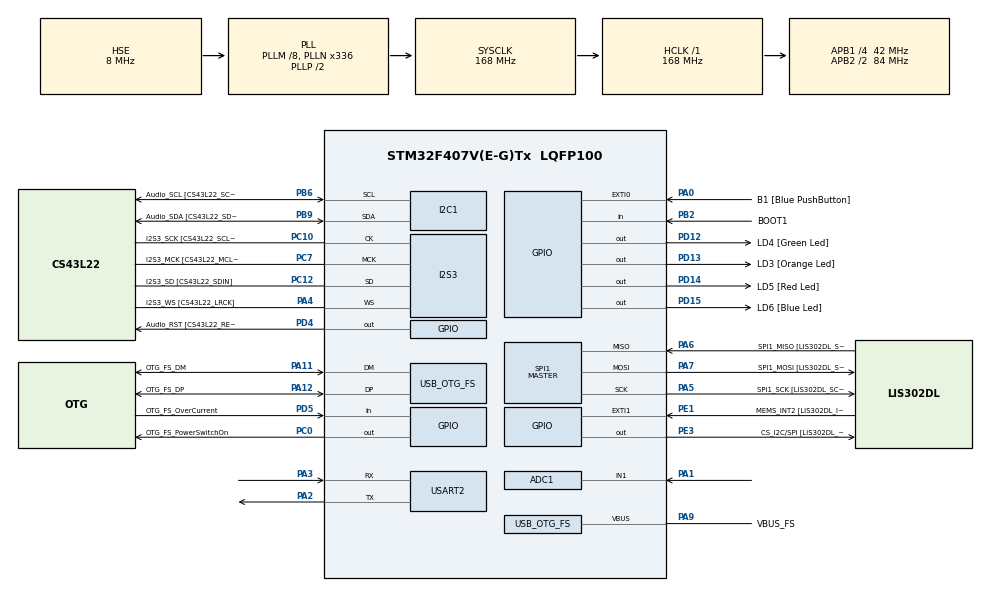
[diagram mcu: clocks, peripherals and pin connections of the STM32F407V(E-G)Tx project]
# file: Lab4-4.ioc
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ADC1.Channel-0\#ChannelRegularConversion=ADC_CHANNEL_1
ADC1.NbrOfConversionFlag=1
ADC1.Rank-0\#ChannelRegularConversion=1
ADC1.SamplingTime-0\#ChannelRegularConversion=ADC_SAMPLETIME_3CYCLES
ADC1.master=1
I2S3.AudioFreq-Half_Duplex_Master=I2S_AUDIOFREQ_96K
I2S3.ErrorAudioFreq=-2.34 %
I2S3.ErrorAudioFreq-Half_Duplex_Master=0.8 %
I2S3.FullDuplexMode=I2S_FULLDUPLEXMODE_DISABLE
I2S3.Instance=SPI$Index
I2S3.RealAudioFreq=93.75 KHz
I2S3.RealAudioFreq-Half_Duplex_Master=96.774 KHz
I2S3.VirtualMode=I2S_MODE_MASTER
Mcu.Family=STM32F4
Mcu.Name=STM32F407V(E-G)Tx
Mcu.Package=LQFP100
NVIC.OTG_FS_IRQn=true\:0\:0\:false\:false\:true\:true\:true
NVIC.PriorityGroup=NVIC_PRIORITYGROUP_0
NVIC.TIM3_IRQn=true\:0\:0\:false\:false\:true\:true\:true
PA0-WKUP.GPIO_Label=B1 [Blue PushButton]
PA0-WKUP.GPIO_ModeDefaultEXTI=GPIO_MODE_EVT_RISING
PA0-WKUP.GPIO_PuPd=GPIO_NOPULL
PA0-WKUP.Signal=GPXTI0
PA1.Signal=ADCx_IN1
PA10.GPIO_Label=OTG_FS_ID
PA10.GPIO_Mode=GPIO_MODE_AF_PP
PA10.GPIO_PuPd=GPIO_NOPULL
PA10.GPIO_Speed=GPIO_SPEED_FREQ_LOW
PA10.Signal=USB_OTG_FS_ID
PA11.GPIO_Label=OTG_FS_DM
PA11.GPIO_Mode=GPIO_MODE_AF_PP
PA11.GPIO_PuPd=GPIO_NOPULL
PA11.GPIO_Speed=GPIO_SPEED_FREQ_LOW
PA11.Mode=Host_Only
PA11.Signal=USB_OTG_FS_DM
PA12.GPIO_Label=OTG_FS_DP
PA12.GPIO_Mode=GPIO_MODE_AF_PP
PA12.GPIO_PuPd=GPIO_NOPULL
PA12.GPIO_Speed=GPIO_SPEED_FREQ_LOW
PA12.Mode=Host_Only
PA12.Signal=USB_OTG_FS_DP
PA13.GPIO_Label=SWDIO
PA13.Mode=Serial_Wire
PA13.Signal=SYS_JTMS-SWDIO
PA14.GPIO_Label=SWCLK
PA14.Mode=Serial_Wire
PA14.Signal=SYS_JTCK-SWCLK
PA2.Mode=Asynchronous
PA2.Signal=USART2_TX
PA3.Mode=Asynchronous
PA3.Signal=USART2_RX
PA4.GPIO_Label=I2S3_WS [CS43L22_LRCK]
PA4.GPIO_Mode=GPIO_MODE_AF_PP
PA4.GPIO_PuPd=GPIO_NOPULL
PA4.GPIO_Speed=GPIO_SPEED_FREQ_LOW
PA4.Mode=Half_Duplex_Master
PA4.Signal=I2S3_WS
PA5.GPIO_Label=SPI1_SCK [LIS302DL_SCL/SPC]
PA5.GPIO_Mode=GPIO_MODE_AF_PP
PA5.GPIO_PuPd=GPIO_NOPULL
PA5.GPIO_Speed=GPIO_SPEED_FREQ_LOW
PA5.Mode=Full_Duplex_Master
PA5.Signal=SPI1_SCK
PA6.GPIO_Label=SPI1_MISO [LIS302DL_SDO]
PA6.GPIO_Mode=GPIO_MODE_AF_PP
PA6.GPIO_PuPd=GPIO_NOPULL
PA6.GPIO_Speed=GPIO_SPEED_FREQ_LOW
PA6.Mode=Full_Duplex_Master
PA6.Signal=SPI1_MISO
PA7.GPIO_Label=SPI1_MOSI [LIS302DL_SDA/SDI/SDO]
PA7.GPIO_Mode=GPIO_MODE_AF_PP
PA7.GPIO_PuPd=GPIO_NOPULL
PA7.GPIO_Speed=GPIO_SPEED_FREQ_LOW
PA7.Mode=Full_Duplex_Master
PA7.Signal=SPI1_MOSI
PA9.GPIO_Label=VBUS_FS
PA9.GPIO_Mode=GPIO_MODE_INPUT
PA9.GPIO_PuPd=GPIO_NOPULL
PA9.Mode=Activate_VBUS
PA9.Signal=USB_OTG_FS_VBUS
PB10.GPIO_Label=CLK_IN [MP45DT02_CLK]
PB10.GPIO_Mode=GPIO_MODE_AF_PP
PB10.GPIO_PuPd=GPIO_NOPULL
PB10.GPIO_Speed=GPIO_SPEED_FREQ_LOW
PB10.Signal=I2S2_CK
PB2.GPIO_Label=BOOT1
PB2.GPIO_Mode=GPIO_MODE_INPUT
PB2.GPIO_PuPd=GPIO_NOPULL
PB2.Signal=GPIO_Input
PB3.GPIO_Label=SWO
PB3.Signal=SYS_JTDO-SWO
PB6.GPIO_Label=Audio_SCL [CS43L22_SCL]
PB6.GPIO_Mode=GPIO_MODE_AF_OD
PB6.GPIO_PuPd=GPIO_NOPULL
PB6.GPIO_Speed=GPIO_SPEED_FREQ_LOW
PB6.Mode=I2C
PB6.Signal=I2C1_SCL
PB9.GPIO_Label=Audio_SDA [CS43L22_SDA]
PB9.GPIO_Mode=GPIO_MODE_AF_OD
PB9.GPIO_PuPd=GPIO_NOPULL
PB9.GPIO_Speed=GPIO_SPEED_FREQ_LOW
PB9.Mode=I2C
PB9.Signal=I2C1_SDA
PC0.GPIO_Label=OTG_FS_PowerSwitchOn
PC0.GPIO_PuPd=GPIO_NOPULL
PC0.GPIO_Speed=GPIO_SPEED_FREQ_LOW
PC0.PinState=GPIO_PIN_SET
PC0.Signal=GPIO_Output
PC10.GPIO_Label=I2S3_SCK [CS43L22_SCLK]
PC10.GPIO_Mode=GPIO_MODE_AF_PP
PC10.GPIO_PuPd=GPIO_NOPULL
PC10.GPIO_Speed=GPIO_SPEED_FREQ_LOW
PC10.Mode=Half_Duplex_Master
PC10.Signal=I2S3_CK
PC12.GPIO_Label=I2S3_SD [CS43L22_SDIN]
PC12.GPIO_Mode=GPIO_MODE_AF_PP
PC12.GPIO_PuPd=GPIO_NOPULL
PC12.GPIO_Speed=GPIO_SPEED_FREQ_LOW
PC12.Mode=Half_Duplex_Master
PC12.Signal=I2S3_SD
PC14-OSC32_IN.GPIO_Label=PC14-OSC32_IN
PC14-OSC32_IN.Mode=LSE-External-Oscillator
PC14-OSC32_IN.Signal=RCC_OSC32_IN
PC15-OSC32_OUT.GPIO_Label=PC15-OSC32_OUT
PC15-OSC32_OUT.Mode=LSE-External-Oscillator
PC15-OSC32_OUT.Signal=RCC_OSC32_OUT
PC3.GPIO_Label=PDM_OUT [MP45DT02_DOUT]
PC3.GPIO_Mode=GPIO_MODE_AF_PP
PC3.GPIO_PuPd=GPIO_NOPULL
PC3.GPIO_Speed=GPIO_SPEED_FREQ_LOW
PC3.Signal=I2S2_SD
PC7.GPIO_Label=I2S3_MCK [CS43L22_MCLK]
PC7.GPIO_Mode=GPIO_MODE_AF_PP
PC7.GPIO_PuPd=GPIO_NOPULL
PC7.GPIO_Speed=GPIO_SPEED_FREQ_LOW
PC7.Mode=Master_Clock_Activated
PC7.Signal=I2S3_MCK
PD12.GPIO_Label=LD4 [Green Led]
PD12.GPIO_PuPd=GPIO_NOPULL
PD12.GPIO_Speed=GPIO_SPEED_FREQ_LOW
PD12.Signal=GPIO_Output
PD13.GPIO_Label=LD3 [Orange Led]
PD13.GPIO_PuPd=GPIO_NOPULL
PD13.GPIO_Speed=GPIO_SPEED_FREQ_LOW
PD13.Signal=GPIO_Output
PD14.GPIO_Label=LD5 [Red Led]
PD14.GPIO_PuPd=GPIO_NOPULL
PD14.GPIO_Speed=GPIO_SPEED_FREQ_LOW
PD14.Signal=GPIO_Output
PD15.GPIO_Label=LD6 [Blue Led]
PD15.GPIO_PuPd=GPIO_NOPULL
PD15.GPIO_Speed=GPIO_SPEED_FREQ_LOW
PD15.Signal=GPIO_Output
PD4.GPIO_Label=Audio_RST [CS43L22_RESET]
PD4.GPIO_PuPd=GPIO_NOPULL
PD4.GPIO_Speed=GPIO_SPEED_FREQ_LOW
PD4.Signal=GPIO_Output
PD5.GPIO_Label=OTG_FS_OverCurrent
PD5.GPIO_Mode=GPIO_MODE_INPUT
PD5.GPIO_PuPd=GPIO_NOPULL
PD5.Signal=GPIO_Input
PE1.GPIO_Label=MEMS_INT2 [LIS302DL_INT2]
PE1.GPIO_ModeDefaultEXTI=GPIO_MODE_EVT_RISING
PE1.GPIO_PuPd=GPIO_NOPULL
PE1.Signal=GPXTI1
PE3.GPIO_Label=CS_I2C/SPI [LIS302DL_CS_I2C/SPI]
PE3.GPIO_PuPd=GPIO_NOPULL
PE3.GPIO_Speed=GPIO_SPEED_FREQ_LOW
PE3.Signal=GPIO_Output
PH0-OSC_IN.GPIO_Label=PH0-OSC_IN
PH0-OSC_IN.Mode=HSE-External-Oscillator
PH0-OSC_IN.Signal=RCC_OSC_IN
PH1-OSC_OUT.GPIO_Label=PH1-OSC_OUT
PH1-OSC_OUT.Mode=HSE-External-Oscillator
PH1-OSC_OUT.Signal=RCC_OSC_OUT
ProjectManager.HeapSize=0x200
ProjectManager.StackSize=0x400
ProjectManager.TargetToolchain=STM32CubeIDE
RCC.48MHZClocksFreq_Value=48000000
RCC.AHBFreq_Value=168000000
RCC.APB1CLKDivider=RCC_HCLK_DIV4
RCC.APB1Freq_Value=42000000
RCC.APB1TimFreq_Value=84000000
RCC.APB2CLKDivider=RCC_HCLK_DIV2
RCC.APB2Freq_Value=84000000
RCC.APB2TimFreq_Value=168000000
RCC.CortexFreq_Value=168000000
RCC.HCLKFreq_Value=168000000
RCC.HSE_VALUE=8000000
RCC.HSI_VALUE=16000000
RCC.PLLM=8
RCC.PLLN=336
RCC.PLLQ=7
RCC.SYSCLKFreq_VALUE=168000000
RCC.SYSCLKSource=RCC_SYSCLKSOURCE_PLLCLK
RCC.VCOOutputFreq_Value=336000000
SH.ADCx_IN1.0=ADC1_IN1,IN1
SPI1.BaudRatePrescaler-Full_Duplex_Master=SPI_BAUDRATEPRESCALER_2
SPI1.CalculateBaudRate-Full_Duplex_Master=42.0 MBits/s
SPI1.Direction=SPI_DIRECTION_2LINES
SPI1.Mode=SPI_MODE_MASTER
SPI1.Mode-Full_Duplex_Master=SPI_MODE_MASTER
SPI1.VirtualType=VM_MASTER
TIM3.AutoReloadPreload=TIM_AUTORELOAD_PRELOAD_ENABLE
TIM3.Period=50
TIM3.Prescaler=83
USART2.VirtualMode=VM_ASYNC
USB_HOST.BSP.number=1
USB_HOST.USBH_HandleTypeDef-CDC_FS=hUsbHostFS
USB_HOST.VirtualModeFS=Cdc
USB_HOST0.BSP.STBoard=false
USB_HOST0.BSP.api=Unknown
USB_HOST0.BSP.i2caddr=0
USB_HOST0.BSP.i2creg=0
USB_HOST0.BSP.instance=PC0
USB_HOST0.BSP.ip=GPIO
USB_HOST0.BSP.mode=Output
USB_HOST0.BSP.name=Drive_VBUS_FS
USB_HOST0.BSP.solution=PC0
USB_OTG_FS.VirtualMode=Host_Only
USB_OTG_FS.phy_itface=HCD_PHY_EMBEDDED
VP_TIM3_VS_ClockSourceINT.Mode=Internal
VP_USB_HOST_VS_USB_HOST_CDC_FS.Mode=CDC_FS
board=STM32F4DISCOVERY

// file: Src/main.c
/* USER CODE BEGIN Header */
/**
  ******************************************************************************
  * @file           : main.c
  * @brief          : Main program body
  ******************************************************************************
  * @attention
  *
  * <h2><center>&copy; Copyright (c) 2019 STMicroelectronics.
  * All rights reserved.</center></h2>
  *
  * This software component is licensed by ST under Ultimate Liberty license
  * SLA0044, the "License"; You may not use this file except in compliance with
  * the License. You may obtain a copy of the License at:
  *                             www.st.com/SLA0044
  *
  ******************************************************************************
  */
/* USER CODE END Header */

#include "main.h"
#include "usb_host.h"

ADC_HandleTypeDef hadc1;

I2C_HandleTypeDef hi2c1;

I2S_HandleTypeDef hi2s3;

SPI_HandleTypeDef hspi1;

TIM_HandleTypeDef htim3;

UART_HandleTypeDef huart2;

void SystemClock_Config(void);
static void MX_GPIO_Init(void);
static void MX_I2C1_Init(void);
static void MX_I2S3_Init(void);
static void MX_SPI1_Init(void);
static void MX_TIM3_Init(void);
static void MX_USART2_UART_Init(void);
static void MX_ADC1_Init(void);
void MX_USB_HOST_Process(void);

/* USER CODE BEGIN 0 */
int cnt = 0;
int lightPow = 0;
int state = 0;
int check = 0;
int serial =0;
float max = 5000;
float min = 0;

void HAL_TIM_PeriodElapsedCallback(TIM_HandleTypeDef *htim) {

	float pwm = (1 - ((max-serial)/(max-min))) * 100;
	lightPow = pwm;
		if(cnt<=lightPow){
			HAL_GPIO_WritePin(GPIOD, GPIO_PIN_15, 1);
		} else {
			HAL_GPIO_WritePin(GPIOD, GPIO_PIN_15, 0);
		}
	if(cnt == 100){
		cnt = 0;
	}

	cnt++;

}
/* USER CODE END 0 */

int main(void)
{

  /* MCU Configuration--------------------------------------------------------*/

  /* Reset of all peripherals, Initializes the Flash interface and the Systick. */
  HAL_Init();

  /* Configure the system clock */
  SystemClock_Config();

  /* Initialize all configured peripherals */
  MX_GPIO_Init();
  MX_I2C1_Init();
  MX_I2S3_Init();
  MX_SPI1_Init();
  MX_USB_HOST_Init();
  MX_TIM3_Init();
  MX_USART2_UART_Init();
  MX_ADC1_Init();
  /* USER CODE BEGIN 2 */
  HAL_TIM_Base_Start_IT(&htim3);
  /* USER CODE END 2 */

  /* Infinite loop */
  while (1)
  {
	  HAL_ADC_Start(&hadc1);
	      if (HAL_ADC_PollForConversion(&hadc1, 1000) == HAL_OK) {
	      	serial = HAL_ADC_GetValue(&hadc1);
	      	char pData[20];
	      	sprintf(pData, "%d\n\r",serial);
	      	HAL_UART_Transmit(&huart2, pData, strlen(pData), 1000);
	      }

  }
}

void SystemClock_Config(void)
{
  RCC_OscInitTypeDef RCC_OscInitStruct = {0};
  RCC_ClkInitTypeDef RCC_ClkInitStruct = {0};
  RCC_PeriphCLKInitTypeDef PeriphClkInitStruct = {0};

  /** Configure the main internal regulator output voltage
  */
  __HAL_RCC_PWR_CLK_ENABLE();
  __HAL_PWR_VOLTAGESCALING_CONFIG(PWR_REGULATOR_VOLTAGE_SCALE1);
  /** Initializes the CPU, AHB and APB busses clocks
  */
  RCC_OscInitStruct.OscillatorType = RCC_OSCILLATORTYPE_HSE;
  RCC_OscInitStruct.HSEState = RCC_HSE_ON;
  RCC_OscInitStruct.PLL.PLLState = RCC_PLL_ON;
  RCC_OscInitStruct.PLL.PLLSource = RCC_PLLSOURCE_HSE;
  RCC_OscInitStruct.PLL.PLLM = 8;
  RCC_OscInitStruct.PLL.PLLN = 336;
  RCC_OscInitStruct.PLL.PLLP = RCC_PLLP_DIV2;
  RCC_OscInitStruct.PLL.PLLQ = 7;
  if (HAL_RCC_OscConfig(&RCC_OscInitStruct) != HAL_OK)
  {
    Error_Handler();
  }
  /** Initializes the CPU, AHB and APB busses clocks
  */
  RCC_ClkInitStruct.ClockType = RCC_CLOCKTYPE_HCLK|RCC_CLOCKTYPE_SYSCLK
                              |RCC_CLOCKTYPE_PCLK1|RCC_CLOCKTYPE_PCLK2;
  RCC_ClkInitStruct.SYSCLKSource = RCC_SYSCLKSOURCE_PLLCLK;
  RCC_ClkInitStruct.AHBCLKDivider = RCC_SYSCLK_DIV1;
  RCC_ClkInitStruct.APB1CLKDivider = RCC_HCLK_DIV4;
  RCC_ClkInitStruct.APB2CLKDivider = RCC_HCLK_DIV2;

  if (HAL_RCC_ClockConfig(&RCC_ClkInitStruct, FLASH_LATENCY_5) != HAL_OK)
  {
    Error_Handler();
  }
  PeriphClkInitStruct.PeriphClockSelection = RCC_PERIPHCLK_I2S;
  PeriphClkInitStruct.PLLI2S.PLLI2SN = 192;
  PeriphClkInitStruct.PLLI2S.PLLI2SR = 2;
  if (HAL_RCCEx_PeriphCLKConfig(&PeriphClkInitStruct) != HAL_OK)
  {
    Error_Handler();
  }
}

static void MX_ADC1_Init(void)
{

  ADC_ChannelConfTypeDef sConfig = {0};

  /** Configure the global features of the ADC (Clock, Resolution, Data Alignment and number of conversion)
  */
  hadc1.Instance = ADC1;
  hadc1.Init.ClockPrescaler = ADC_CLOCK_SYNC_PCLK_DIV4;
  hadc1.Init.Resolution = ADC_RESOLUTION_12B;
  hadc1.Init.ScanConvMode = DISABLE;
  hadc1.Init.ContinuousConvMode = DISABLE;
  hadc1.Init.DiscontinuousConvMode = DISABLE;
  hadc1.Init.ExternalTrigConvEdge = ADC_EXTERNALTRIGCONVEDGE_NONE;
  hadc1.Init.ExternalTrigConv = ADC_SOFTWARE_START;
  hadc1.Init.DataAlign = ADC_DATAALIGN_RIGHT;
  hadc1.Init.NbrOfConversion = 1;
  hadc1.Init.DMAContinuousRequests = DISABLE;
  hadc1.Init.EOCSelection = ADC_EOC_SINGLE_CONV;
  if (HAL_ADC_Init(&hadc1) != HAL_OK)
  {
    Error_Handler();
  }
  /** Configure for the selected ADC regular channel its corresponding rank in the sequencer and its sample time.
  */
  sConfig.Channel = ADC_CHANNEL_1;
  sConfig.Rank = 1;
  sConfig.SamplingTime = ADC_SAMPLETIME_3CYCLES;
  if (HAL_ADC_ConfigChannel(&hadc1, &sConfig) != HAL_OK)
  {
    Error_Handler();
  }

}

static void MX_I2C1_Init(void)
{

  hi2c1.Instance = I2C1;
  hi2c1.Init.ClockSpeed = 100000;
  hi2c1.Init.DutyCycle = I2C_DUTYCYCLE_2;
  hi2c1.Init.OwnAddress1 = 0;
  hi2c1.Init.AddressingMode = I2C_ADDRESSINGMODE_7BIT;
  hi2c1.Init.DualAddressMode = I2C_DUALADDRESS_DISABLE;
  hi2c1.Init.OwnAddress2 = 0;
  hi2c1.Init.GeneralCallMode = I2C_GENERALCALL_DISABLE;
  hi2c1.Init.NoStretchMode = I2C_NOSTRETCH_DISABLE;
  if (HAL_I2C_Init(&hi2c1) != HAL_OK)
  {
    Error_Handler();
  }

}

static void MX_I2S3_Init(void)
{

  hi2s3.Instance = SPI3;
  hi2s3.Init.Mode = I2S_MODE_MASTER_TX;
  hi2s3.Init.Standard = I2S_STANDARD_PHILIPS;
  hi2s3.Init.DataFormat = I2S_DATAFORMAT_16B;
  hi2s3.Init.MCLKOutput = I2S_MCLKOUTPUT_ENABLE;
  hi2s3.Init.AudioFreq = I2S_AUDIOFREQ_96K;
  hi2s3.Init.CPOL = I2S_CPOL_LOW;
  hi2s3.Init.ClockSource = I2S_CLOCK_PLL;
  hi2s3.Init.FullDuplexMode = I2S_FULLDUPLEXMODE_DISABLE;
  if (HAL_I2S_Init(&hi2s3) != HAL_OK)
  {
    Error_Handler();
  }

}

static void MX_SPI1_Init(void)
{

  /* SPI1 parameter configuration*/
  hspi1.Instance = SPI1;
  hspi1.Init.Mode = SPI_MODE_MASTER;
  hspi1.Init.Direction = SPI_DIRECTION_2LINES;
  hspi1.Init.DataSize = SPI_DATASIZE_8BIT;
  hspi1.Init.CLKPolarity = SPI_POLARITY_LOW;
  hspi1.Init.CLKPhase = SPI_PHASE_1EDGE;
  hspi1.Init.NSS = SPI_NSS_SOFT;
  hspi1.Init.BaudRatePrescaler = SPI_BAUDRATEPRESCALER_2;
  hspi1.Init.FirstBit = SPI_FIRSTBIT_MSB;
  hspi1.Init.TIMode = SPI_TIMODE_DISABLE;
  hspi1.Init.CRCCalculation = SPI_CRCCALCULATION_DISABLE;
  hspi1.Init.CRCPolynomial = 10;
  if (HAL_SPI_Init(&hspi1) != HAL_OK)
  {
    Error_Handler();
  }

}

static void MX_TIM3_Init(void)
{

  TIM_ClockConfigTypeDef sClockSourceConfig = {0};
  TIM_MasterConfigTypeDef sMasterConfig = {0};

  htim3.Instance = TIM3;
  htim3.Init.Prescaler = 83;
  htim3.Init.CounterMode = TIM_COUNTERMODE_UP;
  htim3.Init.Period = 50;
  htim3.Init.ClockDivision = TIM_CLOCKDIVISION_DIV1;
  htim3.Init.AutoReloadPreload = TIM_AUTORELOAD_PRELOAD_ENABLE;
  if (HAL_TIM_Base_Init(&htim3) != HAL_OK)
  {
    Error_Handler();
  }
  sClockSourceConfig.ClockSource = TIM_CLOCKSOURCE_INTERNAL;
  if (HAL_TIM_ConfigClockSource(&htim3, &sClockSourceConfig) != HAL_OK)
  {
    Error_Handler();
  }
  sMasterConfig.MasterOutputTrigger = TIM_TRGO_RESET;
  sMasterConfig.MasterSlaveMode = TIM_MASTERSLAVEMODE_DISABLE;
  if (HAL_TIMEx_MasterConfigSynchronization(&htim3, &sMasterConfig) != HAL_OK)
  {
    Error_Handler();
  }

}

static void MX_USART2_UART_Init(void)
{

  huart2.Instance = USART2;
  huart2.Init.BaudRate = 115200;
  huart2.Init.WordLength = UART_WORDLENGTH_8B;
  huart2.Init.StopBits = UART_STOPBITS_1;
  huart2.Init.Parity = UART_PARITY_NONE;
  huart2.Init.Mode = UART_MODE_TX_RX;
  huart2.Init.HwFlowCtl = UART_HWCONTROL_NONE;
  huart2.Init.OverSampling = UART_OVERSAMPLING_16;
  if (HAL_UART_Init(&huart2) != HAL_OK)
  {
    Error_Handler();
  }

}

static void MX_GPIO_Init(void)
{
  GPIO_InitTypeDef GPIO_InitStruct = {0};

  /* GPIO Ports Clock Enable */
  __HAL_RCC_GPIOE_CLK_ENABLE();
  __HAL_RCC_GPIOC_CLK_ENABLE();
  __HAL_RCC_GPIOH_CLK_ENABLE();
  __HAL_RCC_GPIOA_CLK_ENABLE();
  __HAL_RCC_GPIOB_CLK_ENABLE();
  __HAL_RCC_GPIOD_CLK_ENABLE();

  /*Configure GPIO pin Output Level */
  HAL_GPIO_WritePin(CS_I2C_SPI_GPIO_Port, CS_I2C_SPI_Pin, GPIO_PIN_RESET);

  /*Configure GPIO pin Output Level */
  HAL_GPIO_WritePin(OTG_FS_PowerSwitchOn_GPIO_Port, OTG_FS_PowerSwitchOn_Pin, GPIO_PIN_SET);

  /*Configure GPIO pin Output Level */
  HAL_GPIO_WritePin(GPIOD, LD4_Pin|LD3_Pin|LD5_Pin|LD6_Pin
                          |Audio_RST_Pin, GPIO_PIN_RESET);

  /*Configure GPIO pin : CS_I2C_SPI_Pin */
  GPIO_InitStruct.Pin = CS_I2C_SPI_Pin;
  GPIO_InitStruct.Mode = GPIO_MODE_OUTPUT_PP;
  GPIO_InitStruct.Pull = GPIO_NOPULL;
  GPIO_InitStruct.Speed = GPIO_SPEED_FREQ_LOW;
  HAL_GPIO_Init(CS_I2C_SPI_GPIO_Port, &GPIO_InitStruct);

  /*Configure GPIO pin : OTG_FS_PowerSwitchOn_Pin */
  GPIO_InitStruct.Pin = OTG_FS_PowerSwitchOn_Pin;
  GPIO_InitStruct.Mode = GPIO_MODE_OUTPUT_PP;
  GPIO_InitStruct.Pull = GPIO_NOPULL;
  GPIO_InitStruct.Speed = GPIO_SPEED_FREQ_LOW;
  HAL_GPIO_Init(OTG_FS_PowerSwitchOn_GPIO_Port, &GPIO_InitStruct);

  /*Configure GPIO pin : PDM_OUT_Pin */
  GPIO_InitStruct.Pin = PDM_OUT_Pin;
  GPIO_InitStruct.Mode = GPIO_MODE_AF_PP;
  GPIO_InitStruct.Pull = GPIO_NOPULL;
  GPIO_InitStruct.Speed = GPIO_SPEED_FREQ_LOW;
  GPIO_InitStruct.Alternate = GPIO_AF5_SPI2;
  HAL_GPIO_Init(PDM_OUT_GPIO_Port, &GPIO_InitStruct);

  /*Configure GPIO pin : B1_Pin */
  GPIO_InitStruct.Pin = B1_Pin;
  GPIO_InitStruct.Mode = GPIO_MODE_EVT_RISING;
  GPIO_InitStruct.Pull = GPIO_NOPULL;
  HAL_GPIO_Init(B1_GPIO_Port, &GPIO_InitStruct);

  /*Configure GPIO pin : BOOT1_Pin */
  GPIO_InitStruct.Pin = BOOT1_Pin;
  GPIO_InitStruct.Mode = GPIO_MODE_INPUT;
  GPIO_InitStruct.Pull = GPIO_NOPULL;
  HAL_GPIO_Init(BOOT1_GPIO_Port, &GPIO_InitStruct);

  /*Configure GPIO pin : CLK_IN_Pin */
  GPIO_InitStruct.Pin = CLK_IN_Pin;
  GPIO_InitStruct.Mode = GPIO_MODE_AF_PP;
  GPIO_InitStruct.Pull = GPIO_NOPULL;
  GPIO_InitStruct.Speed = GPIO_SPEED_FREQ_LOW;
  GPIO_InitStruct.Alternate = GPIO_AF5_SPI2;
  HAL_GPIO_Init(CLK_IN_GPIO_Port, &GPIO_InitStruct);

  /*Configure GPIO pins : LD4_Pin LD3_Pin LD5_Pin LD6_Pin
                           Audio_RST_Pin */
  GPIO_InitStruct.Pin = LD4_Pin|LD3_Pin|LD5_Pin|LD6_Pin
                          |Audio_RST_Pin;
  GPIO_InitStruct.Mode = GPIO_MODE_OUTPUT_PP;
  GPIO_InitStruct.Pull = GPIO_NOPULL;
  GPIO_InitStruct.Speed = GPIO_SPEED_FREQ_LOW;
  HAL_GPIO_Init(GPIOD, &GPIO_InitStruct);

  /*Configure GPIO pin : OTG_FS_OverCurrent_Pin */
  GPIO_InitStruct.Pin = OTG_FS_OverCurrent_Pin;
  GPIO_InitStruct.Mode = GPIO_MODE_INPUT;
  GPIO_InitStruct.Pull = GPIO_NOPULL;
  HAL_GPIO_Init(OTG_FS_OverCurrent_GPIO_Port, &GPIO_InitStruct);

  /*Configure GPIO pin : MEMS_INT2_Pin */
  GPIO_InitStruct.Pin = MEMS_INT2_Pin;
  GPIO_InitStruct.Mode = GPIO_MODE_EVT_RISING;
  GPIO_InitStruct.Pull = GPIO_NOPULL;
  HAL_GPIO_Init(MEMS_INT2_GPIO_Port, &GPIO_InitStruct);

}

void Error_Handler(void)
{
}

/************************ (C) COPYRIGHT STMicroelectronics *****END OF FILE****/
